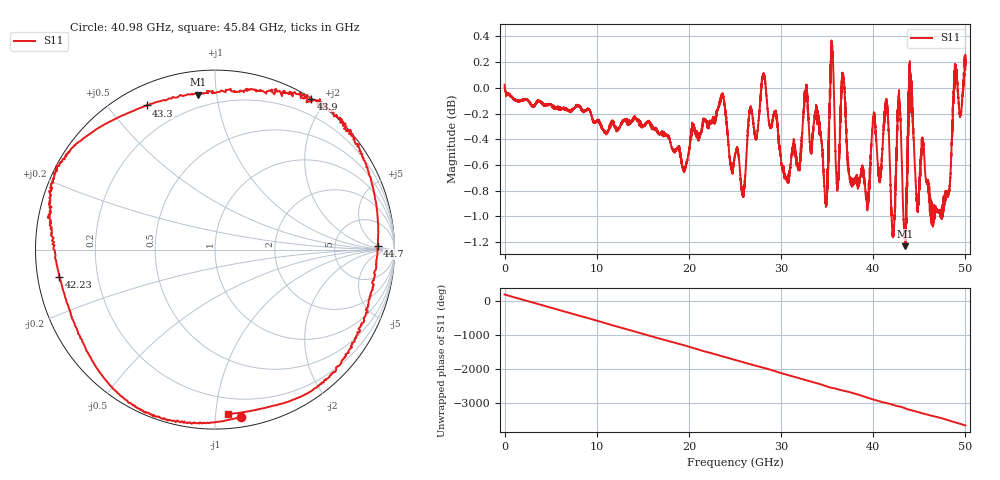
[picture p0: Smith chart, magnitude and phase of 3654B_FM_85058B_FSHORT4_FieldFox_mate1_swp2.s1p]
!Created with skrf (http://scikit-rf.org).
# Hz S RI R 50.0
!freq ReS11 ImS11
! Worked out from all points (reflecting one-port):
!   10000 points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, 5.3 MHz to 50 GHz, reference 50 ohm
!   lowest |S11| = -1.2 dB at 43.47 GHz (marker M1), VSWR 14.13, Z = 6.35 + j44.4 ohm
!   phase of S11 starts at 180 deg and turns -3824 deg over the sweep
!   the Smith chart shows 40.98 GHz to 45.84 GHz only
!   S11 on the Smith chart (normalised r, x): 40.98 GHz: 0.07, -1.16; 42.23 GHz: 0.06, -0.09; 43.3 GHz: 0.08, +0.63; 43.9 GHz: 0.01, +1.82; 44.7 GHz: 19, +4; 45.84 GHz: 0.09, -1.08
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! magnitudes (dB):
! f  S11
! 5.3 MHz  0.0
! 6.255 GHz  -0.2
! 12.51 GHz  -0.3
! 18.76 GHz  -0.5
! 23.61 GHz  -0.1
! 25.01 GHz  -0.5
! 25.91 GHz  -0.8
! 28.1 GHz  0.1
! 31.26 GHz  -0.5
! 32.71 GHz  0.0
! 34.87 GHz  -0.9
! 35.54 GHz  0.3
! 36.07 GHz  -0.8
! 36.73 GHz  0.1
! 37.51 GHz  -0.7
! 40.98 GHz  -0.5
! 41.48 GHz  -0.1
! 42.23 GHz  -1.1
! 42.8 GHz  -0.1
! 43.3 GHz  -1.0
! 43.47 GHz  -1.2
! 43.76 GHz  -0.4
! 43.9 GHz  0.0
! 44.7 GHz  -0.9
! 45.84 GHz  -0.7
! 47.48 GHz  -1.0
! 48.88 GHz  0.2
! 50 GHz  0.1
